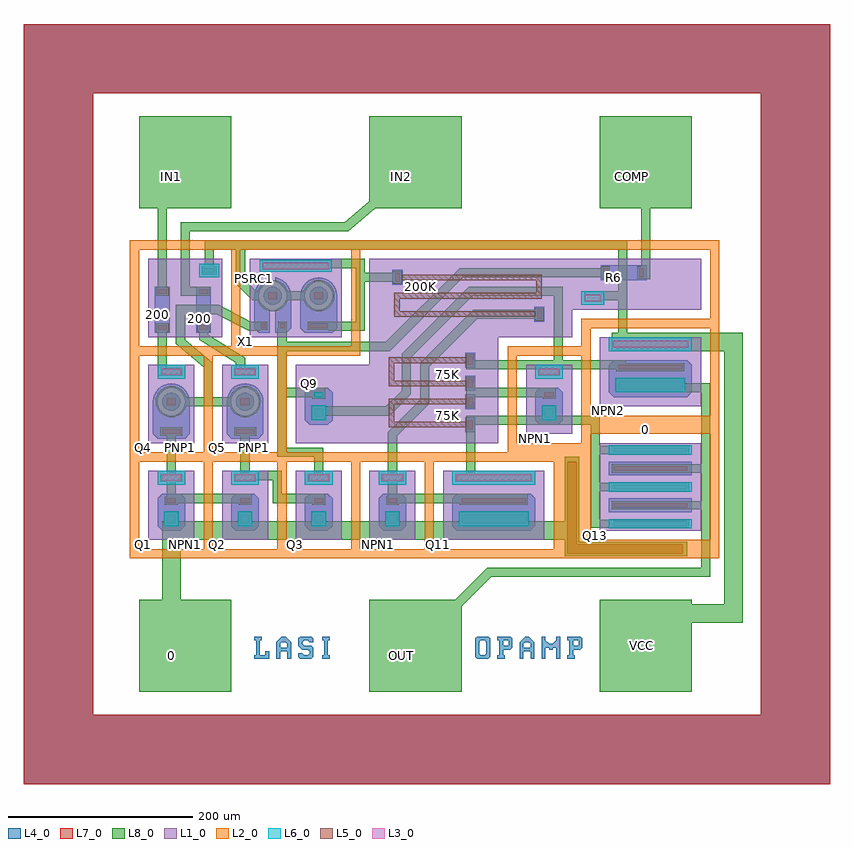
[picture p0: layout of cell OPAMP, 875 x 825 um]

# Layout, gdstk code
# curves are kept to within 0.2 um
from math import pi, radians
import gdstk
lib = gdstk.Library(unit=1e-6, precision=1e-09)
def R(c, l, rs):  # rectangles x0, y0, x1, y1
    for r in rs: c.add(gdstk.rectangle(r[:2], r[2:], *l))
def A(c, l, x, y, w, h, nx, ny, dx, dy):  # array of equal rectangles
    R(c, l, [(x+i*dx, y+j*dy, x+i*dx+w, y+j*dy+h) for i in range(nx) for j in range(ny)])
def P(c, l, *ps):  # polygons
    for p in ps: c.add(gdstk.Polygon(p, *l))
L1_0 = (1, 0)
L2_0 = (2, 0)
L3_0 = (3, 0)
L4_0 = (4, 0)
L5_0 = (5, 0)
L6_0 = (6, 0)
L7_0 = (7, 0)
L8_0 = (8, 0)

npn1 = lib.new_cell('NPN1')
R(npn1, L1_0, [(20,20,70,95)])
R(npn1, L2_0, [(0,0,10,115), (10,0,80,10), (80,0,90,115), (10,105,80,115)])
R(npn1, L3_0, [(34,84,56,91)])
P(npn1, L4_0, [(35,70),(55,70),(60,65),(60,35),(55,30),(35,30),(30,35),(30,65)])
R(npn1, L6_0, [(37,35,53,51), (30,80,60,95)])
R(npn1, L7_0, [(40,38,50,48), (40,60,50,65), (35,85,55,90)])
R(npn1, L8_0, [(38,36,52,50), (38,58,52,67), (33,83,57,92)])
npn1.add(gdstk.Label('1C', (45,87), layer=61, texttype=0))
npn1.add(gdstk.Label('2B', (45,62), layer=61, texttype=0))
npn1.add(gdstk.Label('3E', (45,43), layer=61, texttype=0))

npn1ni = lib.new_cell('NPN1NI')
P(npn1ni, L4_0, [(35,70),(55,70),(60,65),(60,35),(55,30),(35,30),(30,35),(30,65)])
R(npn1ni, L6_0, [(37,35,53,51), (40,60,50,65)])
R(npn1ni, L7_0, [(40,38,50,48), (40,60,50,65)])
R(npn1ni, L8_0, [(38,36,52,50), (38,58,52,67)])
npn1ni.add(gdstk.Label('2B', (45,60), layer=61, texttype=0))
npn1ni.add(gdstk.Label('3E', (45,40), layer=61, texttype=0))
npn1ni.add(gdstk.Label('1C', (45,85), layer=61, texttype=0))

npn2 = lib.new_cell('NPN2')
R(npn2, L1_0, [(20,20,130,95)])
R(npn2, L2_0, [(0,0,10,115), (10,0,140,10), (140,0,150,115), (10,105,140,115)])
R(npn2, L3_0, [(34,84,116,91)])
P(npn2, L4_0, [(35,70),(115,70),(120,65),(120,35),(115,30),(35,30),(30,35),(30,65)])
R(npn2, L6_0, [(37,35,113,51), (30,80,120,95)])
R(npn2, L7_0, [(40,38,110,48), (40,60,110,65), (35,85,115,90)])
R(npn2, L8_0, [(38,36,112,50), (38,58,112,67), (33,83,117,92)])
npn2.add(gdstk.Label('3E', (50,40), layer=61, texttype=0))
npn2.add(gdstk.Label('2B', (50,60), layer=61, texttype=0))
npn2.add(gdstk.Label('1C', (50,90), layer=61, texttype=0))

pnp1 = lib.new_cell('PNP1')
R(pnp1, L1_0, [(20,10,70,95)])
R(pnp1, L2_0, [(0,-10,10,115), (10,-10,80,0), (80,-10,90,115), (10,105,80,115)])
R(pnp1, L3_0, [(34,84,56,91)])
P(pnp1, L4_0, [(30,15),(25,20),(25,55),(25.5,59),(26.5,62.7),(28.2,66),(30.7,69.2),(34,71.7),(37.2,73.5),(41,74.5),(45,75),(49,74.5),(52.7,73.5),(56,71.7),(59.2,69.2),(61.7,66),(63.5,62.7),(64.5,59),(65,55),(65,20),(60,15),(45,15),(45,40),(48,40.2),(50.7,41.2),(53.2,42.5),(55.5,44.5),(57.5,46.7),(58.7,49.2),(59.7,52),(60,55),(59.7,58),(57.5,63.2),(55.5,65.5),(53.2,67.5),(48,69.7),(45,70),(42,69.7),(36.7,67.5),(32.5,63.2),(30.2,58),(30,55),(30.2,52),(31.2,49.2),(32.5,46.7),(34.5,44.5),(36.7,42.5),(39.2,41.2),(42,40.2),(45,40),(45,15)],
  [(35,55),(35.7,51.2),(38,48),(41.2,45.7),(45,45),(48.7,45.7),(50.5,46.7),(52,48),(54.2,51.2),(55,55),(54.2,58.7),(52,62),(48.7,64.2),(45,65),(41.2,64.2),(38,62),(36.7,60.5),(35.7,58.7)])
R(pnp1, L6_0, [(30,80,60,95)])
R(pnp1, L7_0, [(35,20,55,25), (40,51,50,59), (35,85,55,90)])
R(pnp1, L8_0, [(33,18,57,27), (33,83,57,92)])
P(pnp1, L8_0, [(28,55),(28.2,58.5),(30.7,64.5),(33,67),(35.5,69.2),(38.5,70.5),(41.5,71.7),(45,72),(48.5,71.7),(51.5,70.5),(54.5,69.2),(57,67),(59.2,64.5),(60.5,61.5),(61.7,58.5),(62,55),(61.7,51.5),(60.5,48.5),(59.2,45.5),(57,43),(54.5,40.7),(48.5,38.2),(45,38),(41.5,38.2),(35.5,40.7),(33,43),(30.7,45.5),(28.2,51.5)])
pnp1.add(gdstk.Label('3E', (45,55), layer=61, texttype=0))
pnp1.add(gdstk.Label('1C', (45,20), layer=61, texttype=0))
pnp1.add(gdstk.Label('2B', (45,90), layer=61, texttype=0))

psrc1 = lib.new_cell('PSRC1')
R(psrc1, L1_0, [(20,20,120,105)])
R(psrc1, L2_0, [(0,0,10,125), (10,0,130,10), (130,0,140,125), (10,115,130,125)])
R(psrc1, L3_0, [(34,94,106,101)])
P(psrc1, L4_0, [(35,65),(35.7,61.2),(38,58),(41.2,55.7),(45,55),(48.7,55.7),(50.5,56.7),(52,58),(54.2,61.2),(55,65),(54.2,68.7),(52,72),(48.7,74.2),(45,75),(41.2,74.2),(38,72),(36.7,70.5),(35.7,68.7)],
  [(80,25),(75,30),(75,65),(75.5,69),(76.5,72.7),(78.2,76),(80.7,79.2),(84,81.7),(87.2,83.5),(91,84.5),(95,85),(99,84.5),(102.7,83.5),(106,81.7),(109.2,79.2),(111.7,76),(113.5,72.7),(114.5,69),(115,65),(115,30),(110,25),(95,25),(95,50),(98,50.2),(100.7,51.2),(103.2,52.5),(105.5,54.5),(107.5,56.7),(108.7,59.2),(109.7,62),(110,65),(109.7,68),(107.5,73.2),(105.5,75.5),(103.2,77.5),(98,79.7),(95,80),(92,79.7),(86.7,77.5),(82.5,73.2),(80.2,68),(80,65),(80.2,62),(81.2,59.2),(82.5,56.7),(84.5,54.5),(86.7,52.5),(89.2,51.2),(92,50.2),(95,50),(95,25)],
  [(85,65),(85.7,61.2),(88,58),(91.2,55.7),(95,55),(98.7,55.7),(100.5,56.7),(102,58),(104.2,61.2),(105,65),(104.2,68.7),(102,72),(98.7,74.2),(95,75),(91.2,74.2),(88,72),(86.7,70.5),(85.7,68.7)],
  [(42,25),(42,50),(41,50.2),(36.7,52.5),(32.5,56.7),(30.2,62),(30,65),(30.2,68),(32.5,73.2),(36.7,77.5),(42,80),(42,85),(41,85),(37.2,83.5),(34,81.7),(30.7,79.2),(28.2,76),(26.5,72.7),(25.5,69),(25,65),(25,30),(30,25)],
  [(48,25),(48,50),(49,50.2),(53.2,52.5),(57.5,56.7),(59.7,62),(60,65),(59.7,68),(57.5,73.2),(55.5,75.5),(53.2,77.5),(48,80),(48,85),(49,85),(52.7,83.5),(56,81.7),(59.2,79.2),(61.7,76),(63.5,72.7),(64.5,69),(65,65),(65,30),(60,25)])
R(psrc1, L6_0, [(31,91,109,104)])
R(psrc1, L7_0, [(32,30,37,35), (53,30,58,35), (85,30,105,35), (40,61,50,69), (90,61,100,69), (35,95,105,100)])
R(psrc1, L8_0, [(30,28,39,37), (51,28,60,37), (83,28,107,37), (60,60,80,70), (33,93,107,102)])
P(psrc1, L8_0, [(28,65),(28.2,68.5),(30.7,74.5),(33,77),(35.5,79.2),(38.5,80.5),(41.5,81.7),(45,82),(48.5,81.7),(51.5,80.5),(54.5,79.2),(57,77),(59.2,74.5),(60.5,71.5),(61.7,68.5),(62,65),(61.7,61.5),(60.5,58.5),(59.2,55.5),(57,53),(54.5,50.7),(48.5,48.2),(45,48),(41.5,48.2),(35.5,50.7),(33,53),(30.7,55.5),(28.2,61.5)],
  [(78,65),(78.2,68.5),(80.7,74.5),(83,77),(85.5,79.2),(88.5,80.5),(91.5,81.7),(95,82),(98.5,81.7),(101.5,80.5),(104.5,79.2),(107,77),(109.2,74.5),(110.5,71.5),(111.7,68.5),(112,65),(111.7,61.5),(110.5,58.5),(109.2,55.5),(107,53),(104.5,50.7),(98.5,48.2),(95,48),(91.5,48.2),(85.5,50.7),(83,53),(80.7,55.5),(78.2,61.5)])
psrc1.add(gdstk.Label('3C3', (91,30), layer=61, texttype=0))
psrc1.add(gdstk.Label('1C1', (34,32), layer=61, texttype=0))
psrc1.add(gdstk.Label('2C2', (54,32), layer=61, texttype=0))
psrc1.add(gdstk.Label('4B', (68,95), layer=61, texttype=0))
psrc1.add(gdstk.Label('5E', (70,65), layer=61, texttype=0))

r200k = lib.new_cell('R200K')
R(r200k, L4_0, [(-6,-8,5,8), (-160,32,-149,48)])
R(r200k, L7_0, [(-3,-5,2,5), (-157,35,-152,45)])
R(r200k, L8_0, [(-5,-7,4,7), (-159,33,-150,47)])
r200k.add(gdstk.FlexPath([(-150,40),(-1,40),(-1,20),(-155,20),(-155,0),(-5,0)], 6, ends="flush", simple_path=True, layer=5, datatype=0))  # L5_0
r200k.add(gdstk.Label('1', (-155,40), layer=61, texttype=0))
r200k.add(gdstk.Label('2', (0,0), layer=61, texttype=0))

r75k = lib.new_cell('R75K')
R(r75k, L4_0, [(-5,-8,6,8), (-5,17,6,33)])
R(r75k, L7_0, [(-2,-5,3,5), (-2,20,3,30)])
R(r75k, L8_0, [(-4,-7,5,7), (-4,18,5,32)])
r75k.add(gdstk.FlexPath([(5,25),(86,25),(86,0),(5,0)], 6, ends="flush", simple_path=True, layer=5, datatype=0))  # L5_0
r75k.add(gdstk.Label('1', (0,0), layer=61, texttype=0))
r75k.add(gdstk.Label('2', (0,25), layer=61, texttype=0))

spnp1 = lib.new_cell('SPNP1')
R(spnp1, L1_0, [(20,0,130,95)])
R(spnp1, L2_0, [(0,-20,10,115), (10,-20,140,-10), (140,-20,150,115), (10,105,140,115)])
R(spnp1, L4_0, [(30,20,120,35), (30,60,120,75)])
A(spnp1, L6_0, 30, 2.5, 90, 10, 1, 3, 0, 40)
A(spnp1, L7_0, 35, 5, 80, 5, 1, 5, 0, 20)
A(spnp1, L8_0, 33, 3, 84, 9, 1, 5, 0, 20)
P(spnp1, L8_0, [(117,72),(140,72),(140,23),(117,23),(117,32),(130,32),(130,63),(117,63)],
  [(33,92),(10,92),(10,3),(33,3),(33,12),(20,12),(20,43),(33,43),(33,52),(20,52),(20,83),(33,83)])
spnp1.add(gdstk.Label('3E', (135,46), layer=61, texttype=0))
spnp1.add(gdstk.Label('1C', (70,110), layer=61, texttype=0))
spnp1.add(gdstk.Label('2B', (71,47), layer=61, texttype=0))

tubnc1 = lib.new_cell('TUBNC1')
R(tubnc1, L6_0, [(0,0,22,15)])
R(tubnc1, L7_0, [(5,5,17,10)])
R(tubnc1, L8_0, [(3,3,19,12)])

tubnc2 = lib.new_cell('TUBNC2')
R(tubnc2, L3_0, [(4,4,21,11)])
R(tubnc2, L6_0, [(0,0,25,15), (5,5,20,10)])
R(tubnc2, L8_0, [(3,3,22,12)])

tunnel = lib.new_cell('TUNNEL')
R(tunnel, L4_0, [(-6,-8,44,8)])
R(tunnel, L7_0, [(-3,-5,2,5), (36,-5,41,5)])
R(tunnel, L8_0, [(-5,-7,4,7), (34,-7,43,7)])
tunnel.add(gdstk.Label('1', (0,0), layer=61, texttype=0))
tunnel.add(gdstk.Label('2', (40,0), layer=61, texttype=0))

opamp = lib.new_cell('OPAMP')
R(opamp, L1_0, [(135,485,215,570)])
P(opamp, L1_0, [(735,570),(735,515),(595,515),(595,485),(515,485),(515,370),(295,370),(295,455),(375,455),(375,570)])
R(opamp, L2_0, [(115,475,125,580), (745,505,755,590), (115,580,225,590), (365,580,745,590)])
P(opamp, L2_0, [(585,360),(605,360),(605,255),(755,255),(755,245),(585,245)])
R(opamp, L4_0, [(0,0,875,75), (0,75,75,750), (800,75,875,750), (0,750,875,825)])
P(opamp, L4_0, [(492,136),(490,138),(490,158),(492,160),(504,160),(506,158),(506,148),(502,148),(502,154),(500,156),(496,156),(494,154),(494,142),(496,140),(500,140),(502,142),(502,148),(506,148),(506,138),(504,136)],
  [(514,136),(514,140),(516,140),(516,156),(514,156),(514,160),(528,160),(530,158),(530,154),(526,154),(526,156),(520,156),(520,150),(526,150),(526,154),(530,154),(530,148),(528,146),(520,146),(520,140),(522,140),(522,136)],
  [(538,136),(538,154),(544,160),(548,160),(554,154),(554,150),(550,150),(550,152),(548,154),(544,154),(542,152),(542,148),(550,148),(550,150),(554,150),(554,136),(550,136),(550,144),(542,144),(542,136)],
  [(562,136),(566,136),(566,148),(570,148),(570,146),(574,146),(574,148),(578,148),(578,136),(582,136),(582,160),(578,160),(578,156),(574,152),(570,152),(566,156),(566,160),(562,160)],
  [(590,136),(590,140),(592,140),(592,156),(590,156),(590,160),(604,160),(606,158),(606,154),(602,154),(602,156),(596,156),(596,150),(602,150),(602,154),(606,154),(606,148),(604,146),(596,146),(596,140),(598,140),(598,136)],
  [(250,136),(250,140),(252,140),(252,156),(250,156),(250,160),(258,160),(258,156),(256,156),(256,140),(262,140),(262,144),(266,144),(266,136)],
  [(274,136),(274,154),(280,160),(284,160),(290,154),(290,150),(286,150),(286,152),(284,154),(280,154),(278,152),(278,148),(286,148),(286,150),(290,150),(290,136),(286,136),(286,144),(278,144),(278,136)],
  [(300,136),(298,138),(298,142),(302,142),(304,140),(308,140),(310,142),(310,144),(308,146),(302,146),(298,150),(298,158),(300,160),(312,160),(314,158),(314,154),(310,154),(308,156),(304,156),(302,154),(302,152),(304,150),(312,150),(314,148),(314,138),(312,136)],
  [(324,136),(324,140),(326,140),(326,156),(324,156),(324,160),(332,160),(332,156),(330,156),(330,140),(332,140),(332,136)])
R(opamp, L7_0, [(0,0,875,75), (0,75,75,750), (800,75,875,750), (0,750,875,825)])
A(opamp, L8_0, 125, 100, 100, 100, 3, 2, 250, 525)
opamp.add(gdstk.FlexPath([(160,378),(160,310),(247,310)], 10, ends="flush", simple_path=True, layer=8, datatype=0))  # L8_0
opamp.add(gdstk.FlexPath([(240,380),(240,335),(275,335),(275,310),(327,310)], 10, ends="flush", simple_path=True, layer=8, datatype=0))  # L8_0
opamp.add(gdstk.FlexPath([(317,405),(395,405),(415,425),(415,465),(485,535),(580,535),(580,450)], 10, ends="flush", simple_path=True, layer=8, datatype=0))  # L8_0
opamp.add(gdstk.FlexPath([(595,355),(595,255),(720,255)], 16, ends="flush", simple_path=True, layer=8, datatype=0))  # L8_0
opamp.add(gdstk.FlexPath([(595,350),(595,255),(715,255)], 10, ends="flush", simple_path=True, layer=7, datatype=0))  # L7_0
opamp.add(gdstk.FlexPath([(587,275),(160,275),(160,200)], 20, ends="flush", simple_path=True, layer=8, datatype=0))  # L8_0
opamp.add(gdstk.FlexPath([(620,360),(620,395),(485,395),(485,332)], 10, ends="flush", simple_path=True, layer=8, datatype=0))  # L8_0
opamp.add(gdstk.FlexPath([(740,300),(740,230),(505,230),(469,194)], 10, ends="flush", simple_path=True, layer=8, datatype=0))  # L8_0
opamp.add(gdstk.FlexPath([(150,491),(150,443)], 10, ends="flush", simple_path=True, layer=8, datatype=0))  # L8_0
opamp.add(gdstk.FlexPath([(150,539),(150,625)], 10, ends="flush", simple_path=True, layer=8, datatype=0))  # L8_0
opamp.add(gdstk.FlexPath([(172,415),(229,415)], 10, ends="flush", simple_path=True, layer=8, datatype=0))  # L8_0
opamp.add(gdstk.FlexPath([(195,491),(195,485),(235,460),(235,452)], 10, ends="flush", simple_path=True, layer=8, datatype=0))  # L8_0
opamp.add(gdstk.FlexPath([(235,580),(235,545),(250,530),(258,530)], 10, ends="flush", simple_path=True, layer=8, datatype=0))  # L8_0
opamp.add(gdstk.FlexPath([(285,425),(327,425)], 10, ends="flush", simple_path=True, layer=8, datatype=0))  # L8_0
opamp.add(gdstk.FlexPath([(257,497),(245,497),(210,515),(170,515),(170,480),(200,455),(200,420)], 10, ends="flush", simple_path=True, layer=8, datatype=0))  # L8_0
opamp.add(gdstk.FlexPath([(280,495),(280,360),(320,360),(320,337)], 10, ends="flush", simple_path=True, layer=8, datatype=0))  # L8_0
opamp.add(gdstk.FlexPath([(280,475),(395,475),(475,555),(634,555)], 10, ends="flush", simple_path=True, layer=8, datatype=0))  # L8_0
opamp.add(gdstk.FlexPath([(258,565),(365,565),(365,497),(331,497)], 10, ends="flush", simple_path=True, layer=8, datatype=0))  # L8_0
opamp.add(gdstk.FlexPath([(402,550),(370,550)], 10, ends="flush", simple_path=True, layer=8, datatype=0))  # L8_0
opamp.add(gdstk.FlexPath([(485,435),(485,415)], 10, ends="flush", simple_path=True, layer=8, datatype=0))  # L8_0
opamp.add(gdstk.FlexPath([(480,455),(570,455),(570,445)], 10, ends="flush", simple_path=True, layer=8, datatype=0))  # L8_0
opamp.add(gdstk.FlexPath([(645,530),(608,530)], 10, ends="flush", simple_path=True, layer=8, datatype=0))  # L8_0
opamp.add(gdstk.FlexPath([(638,480),(770,480),(770,185),(725,185)], 20, ends="flush", simple_path=True, layer=8, datatype=0))  # L8_0
opamp.add(gdstk.FlexPath([(558,510),(490,510),(435,455),(435,415),(400,380),(400,310),(546.7,310)], 10, ends="flush", simple_path=True, layer=8, datatype=0))  # L8_0
opamp.add(gdstk.FlexPath([(489,425),(577,425)], 10, ends="flush", simple_path=True, layer=8, datatype=0))  # L8_0
opamp.add(gdstk.FlexPath([(650,480),(650,585),(201,585),(201,562)], 10, ends="flush", simple_path=True, layer=8, datatype=0))  # L8_0
opamp.add(gdstk.FlexPath([(643,430),(740,430),(740,345)], 10, ends="flush", simple_path=True, layer=8, datatype=0))  # L8_0
opamp.add(gdstk.FlexPath([(675,548),(675,625)], 10, ends="flush", simple_path=True, layer=8, datatype=0))  # L8_0
opamp.add(gdstk.FlexPath([(653,455),(585,455)], 10, ends="flush", simple_path=True, layer=8, datatype=0))  # L8_0
opamp.add(gdstk.FlexPath([(385,635),(350,605),(175,605),(175,535),(202,535)], 10, ends="flush", simple_path=True, layer=8, datatype=0))  # L8_0
opamp.add(gdstk.Reference(npn1, (195,245)))
opamp.add(gdstk.Reference(npn1, (115,245)))
opamp.add(gdstk.Reference(npn1, (275,245)))
opamp.add(gdstk.Reference(npn1, (355,245)))
opamp.add(gdstk.Reference(npn1, (525,360)))
opamp.add(gdstk.Reference(npn1ni, (275,360)))
opamp.add(gdstk.Reference(npn2, (605,390)))
opamp.add(gdstk.Reference(npn2, (435,245)))
opamp.add(gdstk.Reference(pnp1, (115,360)))
opamp.add(gdstk.Reference(pnp1, (195,360)))
opamp.add(gdstk.Reference(psrc1, (225,465)))
opamp.add(gdstk.Reference(r200k, (560,510)))
opamp.add(gdstk.Reference(r75k, (485,390), rotation=pi, x_reflection=True))
opamp.add(gdstk.Reference(r75k, (485,435), rotation=pi, x_reflection=True))
opamp.add(gdstk.Reference(spnp1, (605,275)))
opamp.add(gdstk.Reference(tubnc1, (190,550)))
opamp.add(gdstk.Reference(tubnc2, (605,520)))
opamp.add(gdstk.Reference(tunnel, (195,534), rotation=3*pi/2))
opamp.add(gdstk.Reference(tunnel, (670,555), rotation=pi))
opamp.add(gdstk.Reference(tunnel, (150,534), rotation=3*pi/2))
opamp.add(gdstk.Label('0', (160,140), layer=60, texttype=0))
opamp.add(gdstk.Label('OUT', (410,140), layer=60, texttype=0))
opamp.add(gdstk.Label('VCC', (670,150), layer=60, texttype=0))
opamp.add(gdstk.Label('Q1', (130,260), layer=62, texttype=0))
opamp.add(gdstk.Label('Q2', (210,260), layer=62, texttype=0))
opamp.add(gdstk.Label('NPN1', (175,260), layer=63, texttype=0))
opamp.add(gdstk.Label('Q4', (130,365), layer=62, texttype=0))
opamp.add(gdstk.Label('Q5', (210,365), layer=62, texttype=0))
opamp.add(gdstk.Label('PNP1', (170,365), layer=63, texttype=0))
opamp.add(gdstk.Label('Q3', (295,260), layer=62, texttype=0))
opamp.add(gdstk.Label('NPN1', (220,260), layer=63, texttype=0))
opamp.add(gdstk.Label('NPN1', (305,260), layer=63, texttype=0))
opamp.add(gdstk.Label('NPN1', (385,260), layer=63, texttype=0))
opamp.add(gdstk.Label('PNP1', (250,365), layer=63, texttype=0))
opamp.add(gdstk.Label('Q10', (370,260), layer=62, texttype=0))
opamp.add(gdstk.Label('NPN1', (555,375), layer=63, texttype=0))
opamp.add(gdstk.Label('75K', (460,400), layer=63, texttype=0))
opamp.add(gdstk.Label('NPN2', (635,405), layer=63, texttype=0))
opamp.add(gdstk.Label('Q11', (450,260), layer=62, texttype=0))
opamp.add(gdstk.Label('Q12', (540,375), layer=62, texttype=0))
opamp.add(gdstk.Label('Q13', (620,270), layer=62, texttype=0))
opamp.add(gdstk.Label('Q14', (620,405), layer=62, texttype=0))
opamp.add(gdstk.Label('R3', (450,400), layer=62, texttype=0))
opamp.add(gdstk.Label('NPN2', (465,260), layer=63, texttype=0))
opamp.add(gdstk.Label('0', (675,385), layer=60, texttype=0))
opamp.add(gdstk.Label('200', (190,505), layer=63, texttype=0))
opamp.add(gdstk.Label('R5', (190,520), layer=62, texttype=0))
opamp.add(gdstk.Label('200', (145,510), layer=63, texttype=0))
opamp.add(gdstk.Label('R4', (145,520), layer=62, texttype=0))
opamp.add(gdstk.Label('200K', (430,540), layer=63, texttype=0))
opamp.add(gdstk.Label('Q9', (310,435), layer=62, texttype=0))
opamp.add(gdstk.Label('R1', (420,540), layer=62, texttype=0))
opamp.add(gdstk.Label('VCC', (320,445), layer=60, texttype=0))
opamp.add(gdstk.Label('X1', (240,480), layer=62, texttype=0))
opamp.add(gdstk.Label('NPN1', (320,435), layer=63, texttype=0))
opamp.add(gdstk.Label('R6', (640,550), layer=62, texttype=0))
opamp.add(gdstk.Label('75K', (460,445), layer=63, texttype=0))
opamp.add(gdstk.Label('R2', (450,445), layer=62, texttype=0))
opamp.add(gdstk.Label('200', (660,550), layer=63, texttype=0))
opamp.add(gdstk.Label('IN1', (160,660), layer=60, texttype=0))
opamp.add(gdstk.Label('IN2', (410,660), layer=60, texttype=0))
opamp.add(gdstk.Label('COMP', (660,660), layer=60, texttype=0))
opamp.add(gdstk.Label('SPNP1', (635,270), layer=63, texttype=0))
opamp.add(gdstk.Label('PSRC1', (250,549), layer=63, texttype=0))

lib.write_gds('OPAMP.gds')
